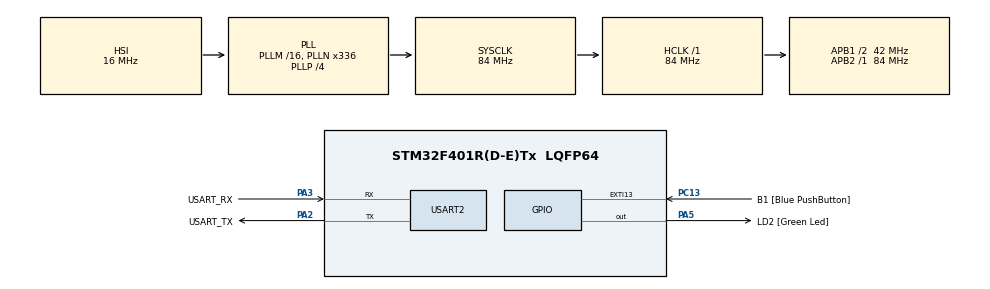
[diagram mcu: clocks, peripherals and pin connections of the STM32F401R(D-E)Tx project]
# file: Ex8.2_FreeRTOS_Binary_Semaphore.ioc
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FREERTOS.BinarySemaphores01=myBinarySem01,Dynamic,NULL,Available
FREERTOS.Tasks01=HighTask,40,128,StartHighTask,Default,NULL,Dynamic,NULL,NULL;MediumTask02,24,128,StartMediumTask02,Default,NULL,Dynamic,NULL,NULL;LowTask03,8,128,StartLowTask03,Default,NULL,Dynamic,NULL,NULL
Mcu.Family=STM32F4
Mcu.Name=STM32F401R(D-E)Tx
Mcu.Package=LQFP64
NVIC.PriorityGroup=NVIC_PRIORITYGROUP_4
PA13.GPIO_Label=TMS
PA13.Mode=Trace_Asynchronous_SW
PA13.Signal=SYS_JTMS-SWDIO
PA14.GPIO_Label=TCK
PA14.Mode=Trace_Asynchronous_SW
PA14.Signal=SYS_JTCK-SWCLK
PA2.GPIO_Label=USART_TX
PA2.GPIO_Mode=GPIO_MODE_AF_PP
PA2.GPIO_PuPd=GPIO_NOPULL
PA2.GPIO_Speed=GPIO_SPEED_FREQ_LOW
PA2.Mode=Asynchronous
PA2.Signal=USART2_TX
PA3.GPIO_Label=USART_RX
PA3.GPIO_Mode=GPIO_MODE_AF_PP
PA3.GPIO_PuPd=GPIO_NOPULL
PA3.GPIO_Speed=GPIO_SPEED_FREQ_LOW
PA3.Mode=Asynchronous
PA3.Signal=USART2_RX
PA5.GPIO_Label=LD2 [Green Led]
PA5.GPIO_Mode=GPIO_MODE_OUTPUT_PP
PA5.GPIO_PuPd=GPIO_NOPULL
PA5.GPIO_Speed=GPIO_SPEED_FREQ_LOW
PA5.Signal=GPIO_Output
PB3.GPIO_Label=SWO
PB3.Mode=Trace_Asynchronous_SW
PB3.Signal=SYS_JTDO-SWO
PC13-ANTI_TAMP.GPIO_Label=B1 [Blue PushButton]
PC13-ANTI_TAMP.GPIO_ModeDefaultEXTI=GPIO_MODE_IT_FALLING
PC13-ANTI_TAMP.GPIO_PuPd=GPIO_PULLDOWN
PC13-ANTI_TAMP.Signal=GPXTI13
PC14-OSC32_IN.Mode=LSE-External-Oscillator
PC14-OSC32_IN.Signal=RCC_OSC32_IN
PC15-OSC32_OUT.Mode=LSE-External-Oscillator
PC15-OSC32_OUT.Signal=RCC_OSC32_OUT
PH0\ -\ OSC_IN.Mode=HSE-External-Clock-Source
PH0\ -\ OSC_IN.Signal=RCC_OSC_IN
PH1\ -\ OSC_OUT.Mode=HSE-External-Clock-Source
PH1\ -\ OSC_OUT.Signal=RCC_OSC_OUT
ProjectManager.HeapSize=0x200
ProjectManager.StackSize=0x400
ProjectManager.TargetToolchain=STM32CubeIDE
RCC.48MHZClocksFreq_Value=48000000
RCC.AHBFreq_Value=84000000
RCC.APB1CLKDivider=RCC_HCLK_DIV2
RCC.APB1Freq_Value=42000000
RCC.APB1TimFreq_Value=84000000
RCC.APB2Freq_Value=84000000
RCC.APB2TimFreq_Value=84000000
RCC.CortexFreq_Value=84000000
RCC.HCLKFreq_Value=84000000
RCC.HSE_VALUE=8000000
RCC.HSI_VALUE=16000000
RCC.PLLN=336
RCC.PLLP=RCC_PLLP_DIV4
RCC.PLLQ=7
RCC.SYSCLKFreq_VALUE=84000000
RCC.SYSCLKSource=RCC_SYSCLKSOURCE_PLLCLK
RCC.VCOOutputFreq_Value=336000000
USART2.VirtualMode=VM_ASYNC
VP_FREERTOS_VS_CMSIS_V2.Mode=CMSIS_V2
board=NUCLEO-F401RE

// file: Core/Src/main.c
/* USER CODE BEGIN Header */
/**
  ******************************************************************************
  * @file           : main.c
  * @brief          : Main program body
  ******************************************************************************
  * @attention
  *
  * Copyright (c) 2026 STMicroelectronics.
  * All rights reserved.
  *
  * This software is licensed under terms that can be found in the LICENSE file
  * in the root directory of this software component.
  * If no LICENSE file comes with this software, it is provided AS-IS.
  *
  ******************************************************************************
  */
/* USER CODE END Header */
#include "main.h"
#include "cmsis_os.h"

/* USER CODE BEGIN Includes */
#include <stdio.h>
/* USER CODE END Includes */

UART_HandleTypeDef huart2;

/* Definitions for HighTask */
osThreadId_t HighTaskHandle;
const osThreadAttr_t HighTask_attributes = {
  .name = "HighTask",
  .stack_size = 128 * 4,
  .priority = (osPriority_t) osPriorityHigh,
};
/* Definitions for MediumTask02 */
osThreadId_t MediumTask02Handle;
const osThreadAttr_t MediumTask02_attributes = {
  .name = "MediumTask02",
  .stack_size = 128 * 4,
  .priority = (osPriority_t) osPriorityNormal,
};
/* Definitions for LowTask03 */
osThreadId_t LowTask03Handle;
const osThreadAttr_t LowTask03_attributes = {
  .name = "LowTask03",
  .stack_size = 128 * 4,
  .priority = (osPriority_t) osPriorityLow,
};
/* Definitions for myBinarySem01 */
osSemaphoreId_t myBinarySem01Handle;
const osSemaphoreAttr_t myBinarySem01_attributes = {
  .name = "myBinarySem01"
};

void SystemClock_Config(void);
static void MX_GPIO_Init(void);
static void MX_USART2_UART_Init(void);
void StartHighTask(void *argument);
void StartMediumTask02(void *argument);
void StartLowTask03(void *argument);

/* USER CODE BEGIN 0 */
int __io_putchar(int ch){
	HAL_UART_Transmit(&huart2, (uint8_t *)&ch, 1, 0xFFFF);
	return ch;
}
/* USER CODE END 0 */

int main(void)
{

  /* MCU Configuration--------------------------------------------------------*/

  /* Reset of all peripherals, Initializes the Flash interface and the Systick. */
  HAL_Init();

  /* Configure the system clock */
  SystemClock_Config();

  /* Initialize all configured peripherals */
  MX_GPIO_Init();
  MX_USART2_UART_Init();

  /* Init scheduler */
  osKernelInitialize();

  /* Create the semaphores(s) */
  /* creation of myBinarySem01 */
  myBinarySem01Handle = osSemaphoreNew(1, 1, &myBinarySem01_attributes);

  /* Create the thread(s) */
  /* creation of HighTask */
  HighTaskHandle = osThreadNew(StartHighTask, NULL, &HighTask_attributes);

  /* creation of MediumTask02 */
  MediumTask02Handle = osThreadNew(StartMediumTask02, NULL, &MediumTask02_attributes);

  /* creation of LowTask03 */
  LowTask03Handle = osThreadNew(StartLowTask03, NULL, &LowTask03_attributes);

  /* Start scheduler */
  osKernelStart();

  /* We should never get here as control is now taken by the scheduler */

  /* Infinite loop */
  while (1)
  {

  }
}

void SystemClock_Config(void)
{
  RCC_OscInitTypeDef RCC_OscInitStruct = {0};
  RCC_ClkInitTypeDef RCC_ClkInitStruct = {0};

  /** Configure the main internal regulator output voltage
  */
  __HAL_RCC_PWR_CLK_ENABLE();
  __HAL_PWR_VOLTAGESCALING_CONFIG(PWR_REGULATOR_VOLTAGE_SCALE2);

  /** Initializes the RCC Oscillators according to the specified parameters
  * in the RCC_OscInitTypeDef structure.
  */
  RCC_OscInitStruct.OscillatorType = RCC_OSCILLATORTYPE_HSI;
  RCC_OscInitStruct.HSIState = RCC_HSI_ON;
  RCC_OscInitStruct.HSICalibrationValue = RCC_HSICALIBRATION_DEFAULT;
  RCC_OscInitStruct.PLL.PLLState = RCC_PLL_ON;
  RCC_OscInitStruct.PLL.PLLSource = RCC_PLLSOURCE_HSI;
  RCC_OscInitStruct.PLL.PLLM = 16;
  RCC_OscInitStruct.PLL.PLLN = 336;
  RCC_OscInitStruct.PLL.PLLP = RCC_PLLP_DIV4;
  RCC_OscInitStruct.PLL.PLLQ = 7;
  if (HAL_RCC_OscConfig(&RCC_OscInitStruct) != HAL_OK)
  {
    Error_Handler();
  }

  /** Initializes the CPU, AHB and APB buses clocks
  */
  RCC_ClkInitStruct.ClockType = RCC_CLOCKTYPE_HCLK|RCC_CLOCKTYPE_SYSCLK
                              |RCC_CLOCKTYPE_PCLK1|RCC_CLOCKTYPE_PCLK2;
  RCC_ClkInitStruct.SYSCLKSource = RCC_SYSCLKSOURCE_PLLCLK;
  RCC_ClkInitStruct.AHBCLKDivider = RCC_SYSCLK_DIV1;
  RCC_ClkInitStruct.APB1CLKDivider = RCC_HCLK_DIV2;
  RCC_ClkInitStruct.APB2CLKDivider = RCC_HCLK_DIV1;

  if (HAL_RCC_ClockConfig(&RCC_ClkInitStruct, FLASH_LATENCY_2) != HAL_OK)
  {
    Error_Handler();
  }
}

static void MX_USART2_UART_Init(void)
{

  huart2.Instance = USART2;
  huart2.Init.BaudRate = 115200;
  huart2.Init.WordLength = UART_WORDLENGTH_8B;
  huart2.Init.StopBits = UART_STOPBITS_1;
  huart2.Init.Parity = UART_PARITY_NONE;
  huart2.Init.Mode = UART_MODE_TX_RX;
  huart2.Init.HwFlowCtl = UART_HWCONTROL_NONE;
  huart2.Init.OverSampling = UART_OVERSAMPLING_16;
  if (HAL_UART_Init(&huart2) != HAL_OK)
  {
    Error_Handler();
  }

}

static void MX_GPIO_Init(void)
{
  GPIO_InitTypeDef GPIO_InitStruct = {0};

  /* GPIO Ports Clock Enable */
  __HAL_RCC_GPIOC_CLK_ENABLE();
  __HAL_RCC_GPIOH_CLK_ENABLE();
  __HAL_RCC_GPIOA_CLK_ENABLE();
  __HAL_RCC_GPIOB_CLK_ENABLE();

  /*Configure GPIO pin Output Level */
  HAL_GPIO_WritePin(LD2_GPIO_Port, LD2_Pin, GPIO_PIN_RESET);

  /*Configure GPIO pin : B1_Pin */
  GPIO_InitStruct.Pin = B1_Pin;
  GPIO_InitStruct.Mode = GPIO_MODE_IT_FALLING;
  GPIO_InitStruct.Pull = GPIO_PULLDOWN;
  HAL_GPIO_Init(B1_GPIO_Port, &GPIO_InitStruct);

  /*Configure GPIO pin : LD2_Pin */
  GPIO_InitStruct.Pin = LD2_Pin;
  GPIO_InitStruct.Mode = GPIO_MODE_OUTPUT_PP;
  GPIO_InitStruct.Pull = GPIO_NOPULL;
  GPIO_InitStruct.Speed = GPIO_SPEED_FREQ_LOW;
  HAL_GPIO_Init(LD2_GPIO_Port, &GPIO_InitStruct);

}

void StartHighTask(void *argument)
{
  /* USER CODE BEGIN 5 */
  /* Infinite loop */
  for(;;)
  {
	  if (osSemaphoreAcquire(myBinarySem01Handle, osWaitForever) == osOK)
      {
          printf(" Entered High Task\r\n");
          printf(" Leaving High Task\r\n");
	          // 세마포어 반납 (unlock)
	      osSemaphoreRelease(myBinarySem01Handle);
      }
	  osDelay(2000);
   }
  /* USER CODE END 5 */
}

void StartMediumTask02(void *argument)
{
  /* USER CODE BEGIN StartMediumTask02 */
  /* Infinite loop */
  for(;;)
  {
  	  if (osSemaphoreAcquire(myBinarySem01Handle, osWaitForever) == osOK)
        {
  		  if(HAL_GPIO_ReadPin(GPIOC, GPIO_PIN_13)== GPIO_PIN_RESET)
  		  {
  			  printf(" Entered Middle Task\r\n");
  			  printf(" Leaving Middle Task\r\n");
  	          // 세마포어 반납 (unlock)
  		  }
  	      osSemaphoreRelease(myBinarySem01Handle);
        }
  	  osDelay(200);
     }
  /* USER CODE END StartMediumTask02 */
}

void StartLowTask03(void *argument)
{
  /* USER CODE BEGIN StartLowTask03 */
  /* Infinite loop */
	  for(;;)
	  {
		  if (osSemaphoreAcquire(myBinarySem01Handle, osWaitForever) == osOK)
	      {
	          printf(" Entered Low Task\r\n");
	          printf(" Leaving Low Task\r\n");
		          // 세마포어 반납 (unlock)
		      osSemaphoreRelease(myBinarySem01Handle);
	      }
		  osDelay(4000);
	  }
  /* USER CODE END StartLowTask03 */
}

void Error_Handler(void)
{
  __disable_irq();
  while (1)
  {
  }
}
